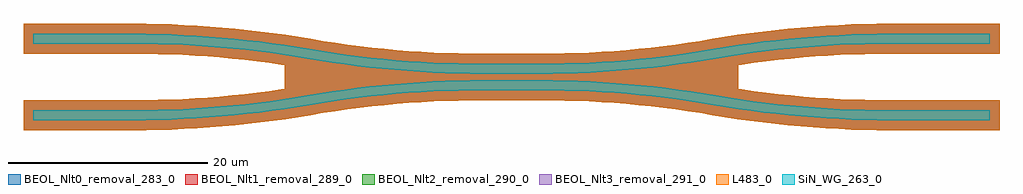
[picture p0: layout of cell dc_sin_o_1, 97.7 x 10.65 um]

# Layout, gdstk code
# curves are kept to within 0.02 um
import gdstk
lib = gdstk.Library(unit=1e-6, precision=1e-09)
def R(c, l, rs):  # rectangles x0, y0, x1, y1
    for r in rs: c.add(gdstk.rectangle(r[:2], r[2:], *l))
def P(c, l, *ps):  # polygons
    for p in ps: c.add(gdstk.Polygon(p, *l))
SiN_WG_263_0 = (263, 0)
BEOL_Nlt0_removal_283_0 = (283, 0)
BEOL_Nlt1_removal_289_0 = (289, 0)
BEOL_Nlt2_removal_290_0 = (290, 0)
BEOL_Nlt3_removal_291_0 = (291, 0)
L483_0 = (483, 0)

c_v2 = lib.new_cell('V2')
R(c_v2, SiN_WG_263_0, [(0,0,10,1), (85.7,0,95.7,1), (45,3,50.7,4), (45,4.65,50.7,5.65), (0,7.65,10,8.65), (85.7,7.65,95.7,8.65)])
P(c_v2, SiN_WG_263_0, [(85.7,0),(81.914,0.068),(79.393,0.192),(76.876,0.376),(74.364,0.623),(71.858,0.93),(68.115,1.507),(68.285,2.493),(71.991,1.922),(74.473,1.617),(76.961,1.373),(80.702,1.121),(83.2,1.03),(85.7,1)],
  [(68.115,1.507),(64.409,2.078),(61.927,2.383),(59.439,2.627),(55.698,2.879),(53.2,2.97),(50.7,3),(50.7,4),(54.486,3.932),(58.266,3.724),(62.036,3.377),(65.792,2.893),(68.285,2.493)],
  [(27.585,1.507),(27.415,2.493),(29.908,2.893),(33.664,3.377),(37.434,3.724),(41.214,3.932),(45,4),(45,3),(42.5,2.97),(40.002,2.879),(36.261,2.627),(33.773,2.383),(31.291,2.078)],
  [(10,0),(10,1),(12.5,1.03),(14.998,1.121),(18.739,1.373),(21.227,1.617),(23.709,1.922),(27.415,2.493),(27.585,1.507),(23.842,0.93),(21.336,0.623),(18.824,0.376),(16.307,0.192),(13.786,0.068)],
  [(68.285,6.157),(68.115,7.143),(70.608,7.543),(74.364,8.027),(78.134,8.374),(81.914,8.582),(85.7,8.65),(85.7,7.65),(83.2,7.62),(80.702,7.529),(76.961,7.277),(74.473,7.033),(71.991,6.728)],
  [(50.7,4.65),(50.7,5.65),(53.2,5.68),(55.698,5.771),(59.439,6.023),(61.927,6.267),(64.409,6.572),(68.115,7.143),(68.285,6.157),(64.542,5.58),(62.036,5.273),(59.524,5.026),(57.007,4.842),(54.486,4.718)],
  [(45,4.65),(41.214,4.718),(38.693,4.842),(36.176,5.026),(33.664,5.273),(31.158,5.58),(27.415,6.157),(27.585,7.143),(31.291,6.572),(33.773,6.267),(36.261,6.023),(40.002,5.771),(42.5,5.68),(45,5.65)],
  [(27.415,6.157),(23.709,6.728),(21.227,7.033),(18.739,7.277),(14.998,7.529),(12.5,7.62),(10,7.65),(10,8.65),(13.786,8.582),(17.566,8.374),(21.336,8.027),(25.092,7.543),(27.585,7.143)])

v2_nit0 = lib.new_cell('V2_nit0')
P(v2_nit0, BEOL_Nlt0_removal_283_0, [(-1,-1),(-1,2),(11.244,2.007),(14.943,2.119),(17.426,2.272),(19.88,2.482),(22.341,2.754),(25.158,3.141),(25.158,5.509),(23.581,5.736),(21.123,6.039),(18.652,6.281),(16.179,6.463),(13.719,6.582),(9.994,6.65),(-1,6.65),(-1,9.65),(11.274,9.643),(13.822,9.581),(16.368,9.456),(18.91,9.27),(22.712,8.874),(25.238,8.532),(28.983,7.923),(31.419,7.564),(35.12,7.132),(37.574,6.922),(40.057,6.769),(42.53,6.68),(45.006,6.65),(50.7,6.65),(53.17,6.68),(55.643,6.769),(59.352,7.019),(61.823,7.261),(64.281,7.564),(66.717,7.923),(70.462,8.532),(72.988,8.874),(76.79,9.27),(79.332,9.456),(81.878,9.581),(84.426,9.643),(96.7,9.65),(96.7,6.65),(84.456,6.643),(80.757,6.531),(78.274,6.378),(75.82,6.168),(73.359,5.896),(70.542,5.509),(70.542,3.141),(72.119,2.914),(74.577,2.611),(77.048,2.369),(79.521,2.187),(81.981,2.068),(85.706,2),(96.7,2),(96.7,-1),(84.426,-0.993),(81.878,-0.931),(79.332,-0.806),(76.79,-0.62),(72.988,-0.224),(70.462,0.118),(66.73,0.725),(64.281,1.086),(60.58,1.518),(58.126,1.728),(55.643,1.881),(53.17,1.97),(50.694,2),(45,2),(42.53,1.97),(40.057,1.881),(36.348,1.631),(33.877,1.389),(31.419,1.086),(28.97,0.725),(25.238,0.118),(22.712,-0.224),(18.91,-0.62),(16.368,-0.806),(13.822,-0.931),(11.274,-0.993)])

v2_nit1 = lib.new_cell('V2_nit1')
P(v2_nit1, BEOL_Nlt1_removal_289_0, [(-1,-1),(-1,2),(11.244,2.007),(14.943,2.119),(17.426,2.272),(19.88,2.482),(22.341,2.754),(25.158,3.141),(25.158,5.509),(23.581,5.736),(21.123,6.039),(18.652,6.281),(16.179,6.463),(13.719,6.582),(9.994,6.65),(-1,6.65),(-1,9.65),(11.274,9.643),(13.822,9.581),(16.368,9.456),(18.91,9.27),(22.712,8.874),(25.238,8.532),(28.983,7.923),(31.419,7.564),(35.12,7.132),(37.574,6.922),(40.057,6.769),(42.53,6.68),(45.006,6.65),(50.7,6.65),(53.17,6.68),(55.643,6.769),(59.352,7.019),(61.823,7.261),(64.281,7.564),(66.717,7.923),(70.462,8.532),(72.988,8.874),(76.79,9.27),(79.332,9.456),(81.878,9.581),(84.426,9.643),(96.7,9.65),(96.7,6.65),(84.456,6.643),(80.757,6.531),(78.274,6.378),(75.82,6.168),(73.359,5.896),(70.542,5.509),(70.542,3.141),(72.119,2.914),(74.577,2.611),(77.048,2.369),(79.521,2.187),(81.981,2.068),(85.706,2),(96.7,2),(96.7,-1),(84.426,-0.993),(81.878,-0.931),(79.332,-0.806),(76.79,-0.62),(72.988,-0.224),(70.462,0.118),(66.73,0.725),(64.281,1.086),(60.58,1.518),(58.126,1.728),(55.643,1.881),(53.17,1.97),(50.694,2),(45,2),(42.53,1.97),(40.057,1.881),(36.348,1.631),(33.877,1.389),(31.419,1.086),(28.97,0.725),(25.238,0.118),(22.712,-0.224),(18.91,-0.62),(16.368,-0.806),(13.822,-0.931),(11.274,-0.993)])

v2_nit2 = lib.new_cell('V2_nit2')
P(v2_nit2, BEOL_Nlt2_removal_290_0, [(-1,-1),(-1,2),(11.244,2.007),(14.943,2.119),(17.426,2.272),(19.88,2.482),(22.341,2.754),(25.158,3.141),(25.158,5.509),(23.581,5.736),(21.123,6.039),(18.652,6.281),(16.179,6.463),(13.719,6.582),(9.994,6.65),(-1,6.65),(-1,9.65),(11.274,9.643),(13.822,9.581),(16.368,9.456),(18.91,9.27),(22.712,8.874),(25.238,8.532),(28.983,7.923),(31.419,7.564),(35.12,7.132),(37.574,6.922),(40.057,6.769),(42.53,6.68),(45.006,6.65),(50.7,6.65),(53.17,6.68),(55.643,6.769),(59.352,7.019),(61.823,7.261),(64.281,7.564),(66.717,7.923),(70.462,8.532),(72.988,8.874),(76.79,9.27),(79.332,9.456),(81.878,9.581),(84.426,9.643),(96.7,9.65),(96.7,6.65),(84.456,6.643),(80.757,6.531),(78.274,6.378),(75.82,6.168),(73.359,5.896),(70.542,5.509),(70.542,3.141),(72.119,2.914),(74.577,2.611),(77.048,2.369),(79.521,2.187),(81.981,2.068),(85.706,2),(96.7,2),(96.7,-1),(84.426,-0.993),(81.878,-0.931),(79.332,-0.806),(76.79,-0.62),(72.988,-0.224),(70.462,0.118),(66.73,0.725),(64.281,1.086),(60.58,1.518),(58.126,1.728),(55.643,1.881),(53.17,1.97),(50.694,2),(45,2),(42.53,1.97),(40.057,1.881),(36.348,1.631),(33.877,1.389),(31.419,1.086),(28.97,0.725),(25.238,0.118),(22.712,-0.224),(18.91,-0.62),(16.368,-0.806),(13.822,-0.931),(11.274,-0.993)])

v2_nit3 = lib.new_cell('V2_nit3')
P(v2_nit3, BEOL_Nlt3_removal_291_0, [(-1,-1),(-1,2),(11.244,2.007),(14.943,2.119),(17.426,2.272),(19.88,2.482),(22.341,2.754),(25.158,3.141),(25.158,5.509),(23.581,5.736),(21.123,6.039),(18.652,6.281),(16.179,6.463),(13.719,6.582),(9.994,6.65),(-1,6.65),(-1,9.65),(11.274,9.643),(13.822,9.581),(16.368,9.456),(18.91,9.27),(22.712,8.874),(25.238,8.532),(28.983,7.923),(31.419,7.564),(35.12,7.132),(37.574,6.922),(40.057,6.769),(42.53,6.68),(45.006,6.65),(50.7,6.65),(53.17,6.68),(55.643,6.769),(59.352,7.019),(61.823,7.261),(64.281,7.564),(66.717,7.923),(70.462,8.532),(72.988,8.874),(76.79,9.27),(79.332,9.456),(81.878,9.581),(84.426,9.643),(96.7,9.65),(96.7,6.65),(84.456,6.643),(80.757,6.531),(78.274,6.378),(75.82,6.168),(73.359,5.896),(70.542,5.509),(70.542,3.141),(72.119,2.914),(74.577,2.611),(77.048,2.369),(79.521,2.187),(81.981,2.068),(85.706,2),(96.7,2),(96.7,-1),(84.426,-0.993),(81.878,-0.931),(79.332,-0.806),(76.79,-0.62),(72.988,-0.224),(70.462,0.118),(66.73,0.725),(64.281,1.086),(60.58,1.518),(58.126,1.728),(55.643,1.881),(53.17,1.97),(50.694,2),(45,2),(42.53,1.97),(40.057,1.881),(36.348,1.631),(33.877,1.389),(31.419,1.086),(28.97,0.725),(25.238,0.118),(22.712,-0.224),(18.91,-0.62),(16.368,-0.806),(13.822,-0.931),(11.274,-0.993)])

v2_nitpasv = lib.new_cell('V2_nitpasv')
P(v2_nitpasv, L483_0, [(-1,-1),(-1,2),(11.244,2.007),(14.943,2.119),(17.426,2.272),(19.88,2.482),(22.341,2.754),(25.158,3.141),(25.158,5.509),(23.581,5.736),(21.123,6.039),(18.652,6.281),(16.179,6.463),(13.719,6.582),(9.994,6.65),(-1,6.65),(-1,9.65),(11.274,9.643),(13.822,9.581),(16.368,9.456),(18.91,9.27),(22.712,8.874),(25.238,8.532),(28.983,7.923),(31.419,7.564),(35.12,7.132),(37.574,6.922),(40.057,6.769),(42.53,6.68),(45.006,6.65),(50.7,6.65),(53.17,6.68),(55.643,6.769),(59.352,7.019),(61.823,7.261),(64.281,7.564),(66.717,7.923),(70.462,8.532),(72.988,8.874),(76.79,9.27),(79.332,9.456),(81.878,9.581),(84.426,9.643),(96.7,9.65),(96.7,6.65),(84.456,6.643),(80.757,6.531),(78.274,6.378),(75.82,6.168),(73.359,5.896),(70.542,5.509),(70.542,3.141),(72.119,2.914),(74.577,2.611),(77.048,2.369),(79.521,2.187),(81.981,2.068),(85.706,2),(96.7,2),(96.7,-1),(84.426,-0.993),(81.878,-0.931),(79.332,-0.806),(76.79,-0.62),(72.988,-0.224),(70.462,0.118),(66.73,0.725),(64.281,1.086),(60.58,1.518),(58.126,1.728),(55.643,1.881),(53.17,1.97),(50.694,2),(45,2),(42.53,1.97),(40.057,1.881),(36.348,1.631),(33.877,1.389),(31.419,1.086),(28.97,0.725),(25.238,0.118),(22.712,-0.224),(18.91,-0.62),(16.368,-0.806),(13.822,-0.931),(11.274,-0.993)])

dc_sin_o_1 = lib.new_cell('dc_sin_o_1')
dc_sin_o_1.add(gdstk.Reference(c_v2, (0,0)))
dc_sin_o_1.add(gdstk.Reference(v2_nit0, (0,0)))
dc_sin_o_1.add(gdstk.Reference(v2_nit1, (0,0)))
dc_sin_o_1.add(gdstk.Reference(v2_nit2, (0,0)))
dc_sin_o_1.add(gdstk.Reference(v2_nit3, (0,0)))
dc_sin_o_1.add(gdstk.Reference(v2_nitpasv, (0,0)))

lib.write_gds('dc_sin_o_1.gds')
